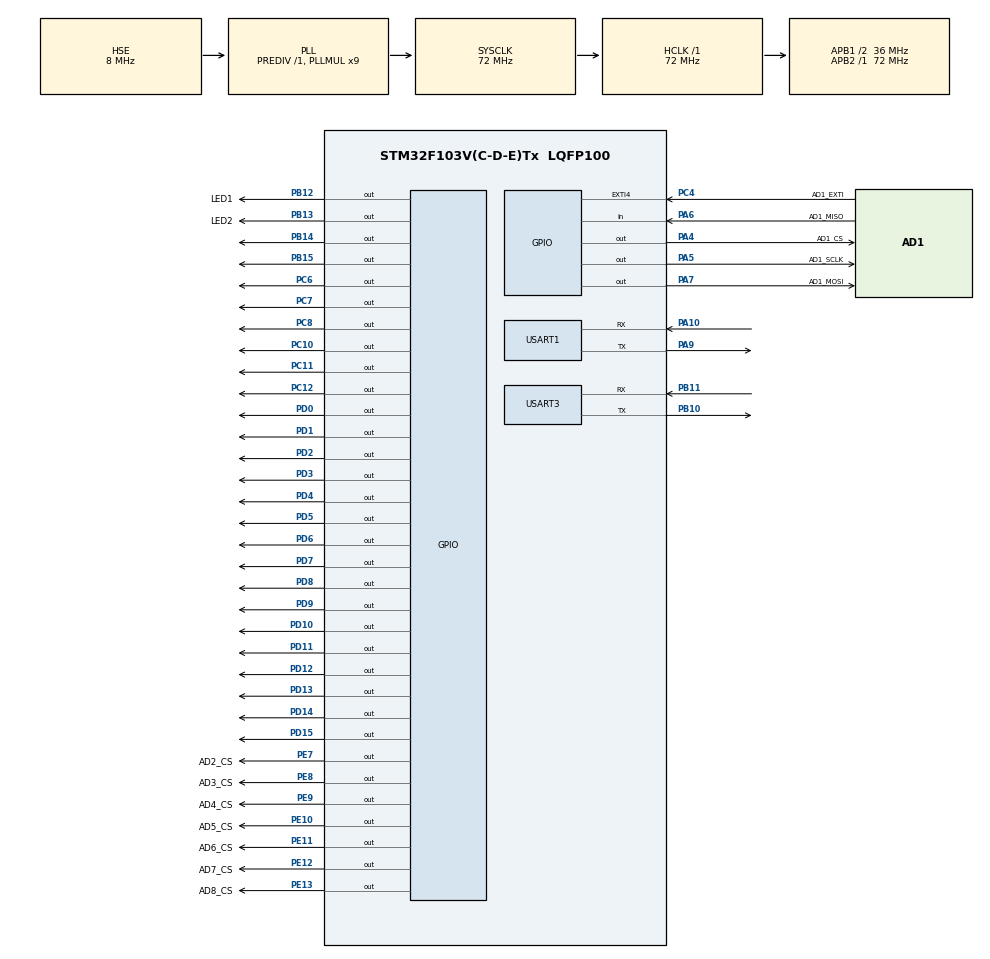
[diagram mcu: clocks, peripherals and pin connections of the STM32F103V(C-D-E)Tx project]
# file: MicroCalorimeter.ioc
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Dma.Request0=USART3_RX
Dma.USART3_RX.0.Direction=DMA_PERIPH_TO_MEMORY
Dma.USART3_RX.0.Instance=DMA1_Channel3
Dma.USART3_RX.0.MemDataAlignment=DMA_MDATAALIGN_BYTE
Dma.USART3_RX.0.MemInc=DMA_MINC_ENABLE
Dma.USART3_RX.0.Mode=DMA_NORMAL
Dma.USART3_RX.0.PeriphDataAlignment=DMA_PDATAALIGN_BYTE
Dma.USART3_RX.0.PeriphInc=DMA_PINC_DISABLE
Dma.USART3_RX.0.Priority=DMA_PRIORITY_LOW
IWDG.Prescaler=IWDG_PRESCALER_64
Mcu.Family=STM32F1
Mcu.Name=STM32F103V(C-D-E)Tx
Mcu.Package=LQFP100
NVIC.DMA1_Channel3_IRQn=true\:0\:0\:false\:false\:true\:false\:true\:true
NVIC.EXTI4_IRQn=true\:0\:0\:false\:false\:true\:true\:true\:true
NVIC.PriorityGroup=NVIC_PRIORITYGROUP_4
NVIC.USART1_IRQn=true\:0\:0\:false\:false\:true\:true\:true\:true
NVIC.USART3_IRQn=true\:0\:0\:false\:false\:true\:true\:true\:true
OSC_IN.Mode=HSE-External-Oscillator
OSC_IN.Signal=RCC_OSC_IN
OSC_OUT.Mode=HSE-External-Oscillator
OSC_OUT.Signal=RCC_OSC_OUT
PA10.Mode=Asynchronous
PA10.Signal=USART1_RX
PA13.Mode=Serial_Wire
PA13.Signal=SYS_JTMS-SWDIO
PA14.Mode=Serial_Wire
PA14.Signal=SYS_JTCK-SWCLK
PA4.GPIO_Label=AD1_CS
PA4.PinState=GPIO_PIN_SET
PA4.Signal=GPIO_Output
PA5.GPIO_Label=AD1_SCLK
PA5.GPIO_Speed=GPIO_SPEED_FREQ_HIGH
PA5.Signal=GPIO_Output
PA6.GPIO_Label=AD1_MISO
PA6.Signal=GPIO_Input
PA7.GPIO_Label=AD1_MOSI
PA7.GPIO_Speed=GPIO_SPEED_FREQ_HIGH
PA7.Signal=GPIO_Output
PA9.Mode=Asynchronous
PA9.Signal=USART1_TX
PB10.Mode=Asynchronous
PB10.Signal=USART3_TX
PB11.Mode=Asynchronous
PB11.Signal=USART3_RX
PB12.GPIO_Label=LED1
PB12.Signal=GPIO_Output
PB13.GPIO_Label=LED2
PB13.Signal=GPIO_Output
PB14.Signal=GPIO_Output
PB15.Signal=GPIO_Output
PC10.Signal=GPIO_Output
PC11.Signal=GPIO_Output
PC12.Signal=GPIO_Output
PC4.GPIO_Label=AD1_EXTI
PC4.Signal=GPXTI4
PC6.Signal=GPIO_Output
PC7.Signal=GPIO_Output
PC8.Signal=GPIO_Output
PD0.Signal=GPIO_Output
PD1.Signal=GPIO_Output
PD10.Signal=GPIO_Output
PD11.Signal=GPIO_Output
PD12.Signal=GPIO_Output
PD13.Signal=GPIO_Output
PD14.Signal=GPIO_Output
PD15.Signal=GPIO_Output
PD2.Signal=GPIO_Output
PD3.Signal=GPIO_Output
PD4.Signal=GPIO_Output
PD5.Signal=GPIO_Output
PD6.Signal=GPIO_Output
PD7.Signal=GPIO_Output
PD8.Signal=GPIO_Output
PD9.Signal=GPIO_Output
PE10.GPIO_Label=AD5_CS
PE10.PinState=GPIO_PIN_SET
PE10.Signal=GPIO_Output
PE11.GPIO_Label=AD6_CS
PE11.PinState=GPIO_PIN_SET
PE11.Signal=GPIO_Output
PE12.GPIO_Label=AD7_CS
PE12.PinState=GPIO_PIN_SET
PE12.Signal=GPIO_Output
PE13.GPIO_Label=AD8_CS
PE13.PinState=GPIO_PIN_SET
PE13.Signal=GPIO_Output
PE7.GPIO_Label=AD2_CS
PE7.PinState=GPIO_PIN_SET
PE7.Signal=GPIO_Output
PE8.GPIO_Label=AD3_CS
PE8.PinState=GPIO_PIN_SET
PE8.Signal=GPIO_Output
PE9.GPIO_Label=AD4_CS
PE9.PinState=GPIO_PIN_SET
PE9.Signal=GPIO_Output
ProjectManager.HeapSize=0x200
ProjectManager.StackSize=0x400
ProjectManager.TargetToolchain=MDK-ARM V5.32
RCC.AHBFreq_Value=72000000
RCC.APB1CLKDivider=RCC_HCLK_DIV2
RCC.APB1Freq_Value=36000000
RCC.APB1TimFreq_Value=72000000
RCC.APB2Freq_Value=72000000
RCC.APB2TimFreq_Value=72000000
RCC.HCLKFreq_Value=72000000
RCC.PLLMUL=RCC_PLL_MUL9
RCC.PLLSourceVirtual=RCC_PLLSOURCE_HSE
RCC.SYSCLKFreq_VALUE=72000000
RCC.SYSCLKSource=RCC_SYSCLKSOURCE_PLLCLK
RCC.USBFreq_Value=72000000
USART1.VirtualMode=VM_ASYNC
USART3.VirtualMode=VM_ASYNC
VP_IWDG_VS_IWDG.Mode=IWDG_Activate
board=custom

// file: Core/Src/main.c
/* USER CODE BEGIN Header */
/**
  ******************************************************************************
  * @file           : main.c
  * @brief          : Main program body
  ******************************************************************************
  * @attention
  *
  * Copyright (c) 2024 STMicroelectronics.
  * All rights reserved.
  *
  * This software is licensed under terms that can be found in the LICENSE file
  * in the root directory of this software component.
  * If no LICENSE file comes with this software, it is provided AS-IS.
  *
  ******************************************************************************
  */
/* USER CODE END Header */
#include "main.h"
#include "dma.h"
#include "iwdg.h"
#include "usart.h"
#include "gpio.h"

/* USER CODE BEGIN Includes */
#include "sys.h"
/* USER CODE END Includes */

void SystemClock_Config(void);

/* USER CODE BEGIN 0 */
static void led1_thread_entry(void* parameter);
static void cpu_usage_thread_entry(void *parameter);

static rt_sem_t sem;
static rt_sem_t data_process_sem;
static rt_sem_t uart3_sem;
static rt_sem_t eeprom_sem;

rt_sem_t get_semaphore(void) {
    return sem;
}

rt_sem_t get_data_process_sem(void) {
    return data_process_sem;
}

rt_sem_t get_uart3_sem(void) {
    return uart3_sem;
}

rt_sem_t get_eeprom_sem(void) {
    return eeprom_sem;
}
/* USER CODE END 0 */

int main(void)
{

  /* MCU Configuration--------------------------------------------------------*/

  /* Reset of all peripherals, Initializes the Flash interface and the Systick. */
  HAL_Init();

  /* Configure the system clock */
  SystemClock_Config();

  /* Initialize all configured peripherals */
  MX_GPIO_Init();
  MX_DMA_Init();
  MX_IWDG_Init();
  MX_USART3_UART_Init();
  MX_USART1_UART_Init();
  /* USER CODE BEGIN 2 */
//	rt_show_version();
	cpu_usage_init();
	I2C_Config();
	HAL_NVIC_DisableIRQ(EXTI4_IRQn);
	InitAD7177(&device1,0);						//AD7177初始化
	InitAD7177(&device2,0);						//AD7177初始化
	InitAD7177(&device3,0);						//AD7177初始化
	InitAD7177(&device4,0);						//AD7177初始化
	InitAD7177(&device5,0);						//AD7177初始化
	InitAD7177(&device6,0);						//AD7177初始化
	InitAD7177(&device7,0);						//AD7177初始化
	InitAD7177(&device8,0);						//AD7177初始化
	HAL_NVIC_EnableIRQ(EXTI4_IRQn);

	HAL_UART_DMAStop(&huart3);
	__HAL_UART_ENABLE_IT(&huart3, UART_IT_RXNE);
	__HAL_UART_ENABLE_IT(&huart3, UART_IT_IDLE);

	HAL_UART_DMAStop(&huart1);
	__HAL_UART_ENABLE_IT(&huart1, UART_IT_RXNE);
	__HAL_UART_ENABLE_IT(&huart1, UART_IT_IDLE);

	#ifdef VERSION_R4V1
	IOUT_P;
	Choose_R1;
	#else
	Choose_V2;
	#endif
  /* USER CODE END 2 */

  /* Infinite loop */

    /* USER CODE BEGIN 3 */
	sem = rt_sem_create("my_semaphore", 1, RT_IPC_FLAG_FIFO);
	data_process_sem = rt_sem_create("data_process_sem", 1, RT_IPC_FLAG_FIFO);
	uart3_sem = rt_sem_create("uart3_sem", 1, RT_IPC_FLAG_FIFO);
	eeprom_sem = rt_sem_create("eeprom_sem", 1, RT_IPC_FLAG_FIFO);

	rt_thread_t led1_thread =
	rt_thread_create( "led1",
										led1_thread_entry,
										RT_NULL,
										1024,
										5,
										20);

   if (led1_thread != RT_NULL)
        rt_thread_startup(led1_thread);
    else
        return -1;

	rt_thread_t watchdog_thread =
	rt_thread_create("watchdog",
										watchdog_thread_entry,
										RT_NULL,
										255,
										6,
										20);

	if(watchdog_thread != RT_NULL)
			rt_thread_startup(watchdog_thread);
	else
			return -1;

	rt_thread_t data_conversion_thread =
	rt_thread_create("data_conversion",
										data_conversion_thread_entry,
										RT_NULL,
										255,
										3,
										20);

	if(data_conversion_thread != RT_NULL)
			rt_thread_startup(data_conversion_thread);
	else
			return -1;

	rt_thread_t data_process_thread =
	rt_thread_create("data_process",
										data_process_thread_entry,
										RT_NULL,
										1024,
										4,
										20);

	if(data_process_thread != RT_NULL)
			rt_thread_startup(data_process_thread);
	else
			return -1;

	rt_thread_t data_send_thread =
	rt_thread_create("data_send",
										data_send_thread_entry,
										RT_NULL,
										255,
										7,
										20);

	if(data_send_thread != RT_NULL)
			rt_thread_startup(data_send_thread);
	else
			return -1;

	rt_thread_t eeprom_thread =
	rt_thread_create("eeprom",
										eeprom_thread_entry,
										RT_NULL,
										512,
										8,
										20);

	if(eeprom_thread != RT_NULL)
		rt_thread_startup(eeprom_thread);
	else
		return -1;

	rt_thread_t maintask_thread =
	rt_thread_create("maintask",
										main_task_thread_entry,
										RT_NULL,
										512,
										9,
										20);

	if(maintask_thread != RT_NULL)
		rt_thread_startup(maintask_thread);
	else
		return -1;
}

static void led1_thread_entry(void* parameter)
{
	while (1)
	{
		HAL_GPIO_TogglePin(LED1_GPIO_Port,LED1_Pin);
		rt_thread_delay(40);   /* 延时500个tick */

		HAL_GPIO_TogglePin(LED1_GPIO_Port,LED1_Pin);
		rt_thread_delay(960);   /* 延时500个tick */

//		rt_uint32_t total, used, max_used;
//		rt_memory_info(&total, &used, &max_used);
//		rt_kprintf("Total memory: %u, Used memory: %u, Max used memory: %u\n", total, used, max_used);
	}
}

static void cpu_usage_thread_entry(void *parameter)
{
    rt_uint8_t major, minor;

    while(1)
    {
			// 获取 CPU 利用率
			cpu_usage_get(&major, &minor);

			rt_kprintf("CPU usage: %d.%d %\r\n", major, minor);
			rt_thread_delay(10000);  // 500个tick（500ms）
    }

  /* USER CODE END 3 */
}

void SystemClock_Config(void)
{
  RCC_OscInitTypeDef RCC_OscInitStruct = {0};
  RCC_ClkInitTypeDef RCC_ClkInitStruct = {0};

  /** Initializes the RCC Oscillators according to the specified parameters
  * in the RCC_OscInitTypeDef structure.
  */
  RCC_OscInitStruct.OscillatorType = RCC_OSCILLATORTYPE_LSI|RCC_OSCILLATORTYPE_HSE;
  RCC_OscInitStruct.HSEState = RCC_HSE_ON;
  RCC_OscInitStruct.HSEPredivValue = RCC_HSE_PREDIV_DIV1;
  RCC_OscInitStruct.HSIState = RCC_HSI_ON;
  RCC_OscInitStruct.LSIState = RCC_LSI_ON;
  RCC_OscInitStruct.PLL.PLLState = RCC_PLL_ON;
  RCC_OscInitStruct.PLL.PLLSource = RCC_PLLSOURCE_HSE;
  RCC_OscInitStruct.PLL.PLLMUL = RCC_PLL_MUL9;
  if (HAL_RCC_OscConfig(&RCC_OscInitStruct) != HAL_OK)
  {
    Error_Handler();
  }

  /** Initializes the CPU, AHB and APB buses clocks
  */
  RCC_ClkInitStruct.ClockType = RCC_CLOCKTYPE_HCLK|RCC_CLOCKTYPE_SYSCLK
                              |RCC_CLOCKTYPE_PCLK1|RCC_CLOCKTYPE_PCLK2;
  RCC_ClkInitStruct.SYSCLKSource = RCC_SYSCLKSOURCE_PLLCLK;
  RCC_ClkInitStruct.AHBCLKDivider = RCC_SYSCLK_DIV1;
  RCC_ClkInitStruct.APB1CLKDivider = RCC_HCLK_DIV2;
  RCC_ClkInitStruct.APB2CLKDivider = RCC_HCLK_DIV1;

  if (HAL_RCC_ClockConfig(&RCC_ClkInitStruct, FLASH_LATENCY_2) != HAL_OK)
  {
    Error_Handler();
  }
}

void Error_Handler(void)
{
  __disable_irq();
  while (1)
  {
  }
}
